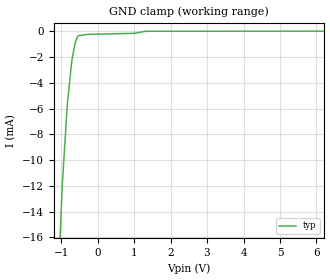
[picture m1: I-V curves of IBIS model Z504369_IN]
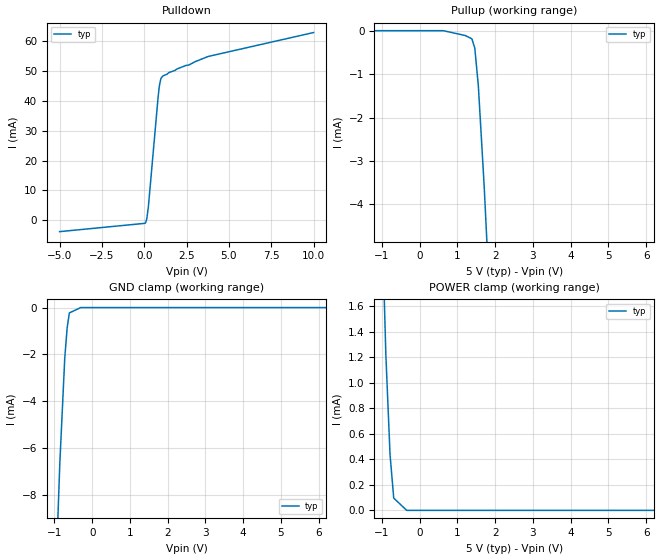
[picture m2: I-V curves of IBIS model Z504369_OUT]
| YOU ARE ONLY AUTHORIZED TO USE THIS SOFTWARE
| ACCORDING TO LICENSOR'S LICENSE RESTRICTIONS.
[IBIS Ver] 3.1
[File Name] sn54ls122j.ibs
[File Rev] 2.0
[Source] Measured and created by ICX Technology
[Date] Friday 7/14/00 9:08:13 AM
[Copyright]
| (C) COPYRIGHT 1993-2000
| MENTOR GRAPHICS CORPORATION
| ICX STANDARD LIBRARY, ICX PROJECT MODELING,
| ICX CUSTOM MODELING, ICX VENDOR MODEL
| ALL RIGHTS RESERVED.
| THE FOLLOWING ARE TRADEMARKS OR SERVICE MARKS OF
| MENTOR GRAPHICS CORPORATION:ICX (R), ICX STANDARD
| LIBRARY(R), ICX PROJECT MODELING(R), ICX CUSTOM
| MODELING(R), qualityIBIS(TM), MODELVIEWER(TM),
| AND MODELEDITOR(TM)
| ALL COPIES OF SOFTWARE, INCLUDING BUT NOT LIMITED TO
| ANY MODIFICATIONS, ENHANCEMENTS OR DERIVATIVE WORKS,
| MUST CONTAIN ALL MENTOR GRAPHICS CORPORATION'S
| NOTICES AND LEGENDS, INCLUDING THOSE EMBEDDED IN
| SOFTWARE AND THOSE AFFIXED TO SOFTWARE MEDIUM
| AND CONTAINER, AS RECEIVED FROM MENTOR GRAPHICS
| CORPORATION.
|  ZAP Model Builder 2.7
[Component] SN54LS122J
[Manufacturer] OnSemiconductor
[Package]
| variable   typ   min   max
R_pkg  .21ohms NA NA
L_pkg  4.543nH NA NA
C_pkg  1.8pF NA NA
[Pin] signal_name  model_name  R_pin  L_pin C_pin
1 A1 Z504369_IN .22 6.757n 2.434p
2 A2 Z504369_IN .212 4.757n 1.941p
3 B1 Z504369_IN .204 3.257n 1.448p
4 B2 Z504369_IN .196 2.257n .955p
5 _CLR Z504369_IN .204 3.257n 1.448p
6 _Q Z504369_OUT .212 4.757n 1.941p
7 GND GND .22 6.757n 2.434p
8 Q Z504369_OUT .22 6.757n 2.434p
9 R_INT NC .212 4.757n 1.941p
10 NC NC .204 3.257n 1.448p
11 C_EXT NC .196 2.257n .955p
12 NC NC .204 3.257n 1.448p
13 R_EXT_C_EXT NC .212 4.757n 1.941p
14 VCC POWER .22 6.757n 2.434p
| Models and submodels in the file (2): Z504369_IN (Input), Z504369_OUT (Output)
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| (C) COPYRIGHT 1993-2000
| MENTOR GRAPHICS CORPORATION
| ICX STANDARD LIBRARY, ICX PROJECT MODELING,
| ICX CUSTOM MODELING, ICX VENDOR MODEL
| ALL RIGHTS RESERVED.
| THE FOLLOWING ARE TRADEMARKS OR SERVICE MARKS OF
| MENTOR GRAPHICS CORPORATION:ICX (R), ICX STANDARD
| LIBRARY(R), ICX PROJECT MODELING(R), ICX CUSTOM
| MODELING(R), qualityIBIS(TM), MODELVIEWER(TM),
| AND MODELEDITOR(TM)
| ALL COPIES OF SOFTWARE, INCLUDING BUT NOT LIMITED TO
| ANY MODIFICATIONS, ENHANCEMENTS OR DERIVATIVE WORKS,
| MUST CONTAIN ALL MENTOR GRAPHICS CORPORATION'S
| NOTICES AND LEGENDS, INCLUDING THOSE EMBEDDED IN
| SOFTWARE AND THOSE AFFIXED TO SOFTWARE MEDIUM
| AND CONTAINER, AS RECEIVED FROM MENTOR GRAPHICS
| CORPORATION.
| Model Application Version 1.89 2/18/99.
[Model] Z504369_IN
Model_type Input
Vinl = 800.0mV
Vinh = 2.000V
C_comp 4.000pF NA NA
| variable typ   min   max
[Voltage Range] 5.000V NA NA
[GND Clamp Reference] 0.000V NA NA
[POWER Clamp Reference] 5.000V NA NA
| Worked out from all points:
|   GND clamp passes 1 mA (typ) near -0.62 V on its own axis
[GND Clamp]
-5V       -280.7mA   NA         NA
-966.7mV  -11.86mA   NA         NA
-829.8mV  -5.665mA   NA         NA
-706.9mV  -2.31mA    NA         NA
-617.6mV  -938.7uA   NA         NA
-565.9mV  -503.4uA   NA         NA
-527.4mV  -351.4uA   NA         NA
-263.7mV  -250.6uA   NA         NA
1.01V     -169.7uA   NA         NA
1.323V    -8.972uA   NA         NA
10V       3.582uA    NA         NA
[POWER Clamp]
-5V       0A         NA         NA
10V       0A         NA         NA
| (C) COPYRIGHT 1993-2000
| MENTOR GRAPHICS CORPORATION
| ICX STANDARD LIBRARY, ICX PROJECT MODELING,
| ICX CUSTOM MODELING, ICX VENDOR MODEL
| ALL RIGHTS RESERVED.
| THE FOLLOWING ARE TRADEMARKS OR SERVICE MARKS OF
| MENTOR GRAPHICS CORPORATION:ICX (R), ICX STANDARD
| LIBRARY(R), ICX PROJECT MODELING(R), ICX CUSTOM
| MODELING(R), qualityIBIS(TM), MODELVIEWER(TM),
| AND MODELEDITOR(TM)
| ALL COPIES OF SOFTWARE, INCLUDING BUT NOT LIMITED TO
| ANY MODIFICATIONS, ENHANCEMENTS OR DERIVATIVE WORKS,
| MUST CONTAIN ALL MENTOR GRAPHICS CORPORATION'S
| NOTICES AND LEGENDS, INCLUDING THOSE EMBEDDED IN
| SOFTWARE AND THOSE AFFIXED TO SOFTWARE MEDIUM
| AND CONTAINER, AS RECEIVED FROM MENTOR GRAPHICS
| CORPORATION.
| Model Application Version 1.89 2/18/99.
[Model] Z504369_OUT
Model_type Output
Vref=5.000V
Rref=2.000kohms
Cref=15.00pF
Vmeas=1.300V
C_comp 8.000pF NA NA
| variable typ   min   max
[Voltage Range] 5.000V NA NA
[POWER Clamp Reference] 5.000V NA NA
[Pullup Reference] 5.000V NA NA
[Pulldown Reference] 0.000V NA NA
[GND Clamp Reference] 0.000V NA NA
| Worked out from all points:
|   slope of the pulldown table from 0 to 0.75 V, typ, clamps not added: 19.8 ohm
|   slope of the pullup table from 0 to 0.75 V, typ, clamps not added: 31 kohm
|   GND clamp passes 1 mA (typ) near -0.67 V on its own axis
|   POWER clamp passes 1 mA (typ) near -0.87 V on its own axis
[GND Clamp]
-5V       -244.9mA   NA         NA
-1.011V   -13.6mA    NA         NA
-858.2mV  -6.653mA   NA         NA
-726.9mV  -2.151mA   NA         NA
-664mV    -875.5uA   NA         NA
-605.7mV  -229.6uA   NA         NA
-302.9mV  0A         NA         NA
10V       0A         NA         NA
[Pulldown]
-5V       -3.766mA   NA         NA
87.85mV   -689.2uA   NA         NA
151.4mV   550.4uA    NA         NA
244.1mV   4.595mA    NA         NA
820.3mV   41.35mA    NA         NA
894.7mV   45mA       NA         NA
976.6mV   47.28mA    NA         NA
1.094V    48.28mA    NA         NA
1.907V    50.57mA    NA         NA
2.646V    51.98mA    NA         NA
3.776V    54.82mA    NA         NA
10V       62.82mA    NA         NA
[Pullup]
-5V       15.54uA    NA         NA
625mV     15.54uA    NA         NA
1.202V    -96.16uA   NA         NA
1.382V    -172.8uA   NA         NA
1.459V    -387.8uA   NA         NA
1.553V    -1.257mA   NA         NA
1.709V    -3.608mA   NA         NA
10V       -152.5mA   NA         NA
[POWER Clamp]
-5V       44.48mA    NA         NA
-897mV    1.222mA    NA         NA
-786mV    438.2uA    NA         NA
-688mV    95.96uA    NA         NA
-344mV    0A         NA         NA
10V       0A         NA         NA
[Ramp]
| variable typ min max
dV/dt_r 1.818/7.905n NA NA
dV/dt_f 1.818/2.001n NA NA
R_load = 500.0Ohms
